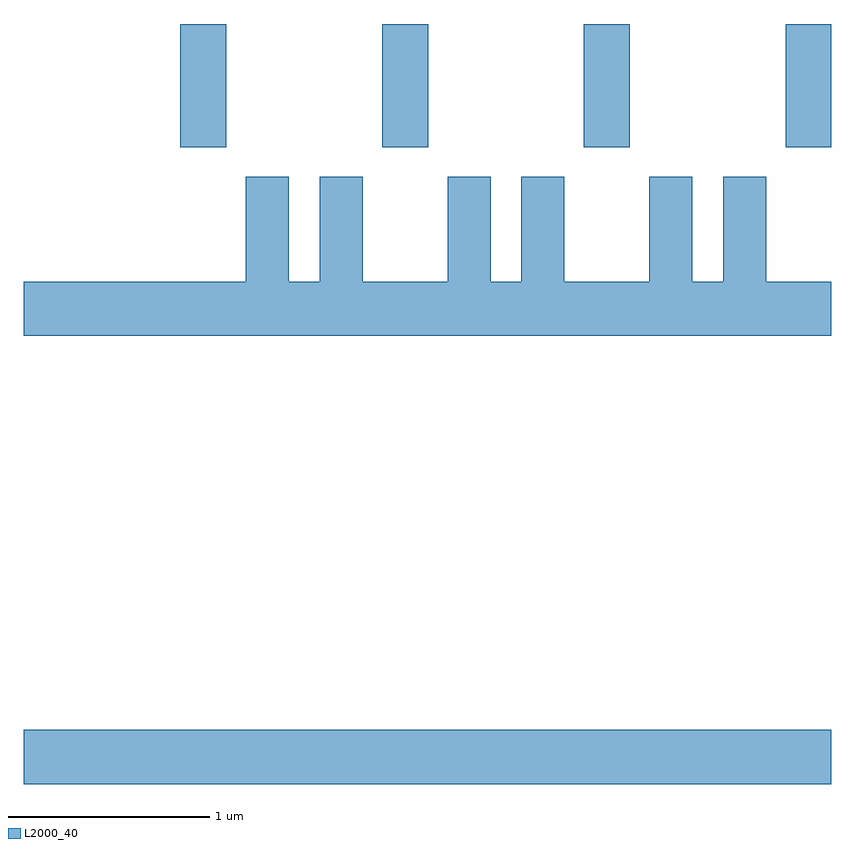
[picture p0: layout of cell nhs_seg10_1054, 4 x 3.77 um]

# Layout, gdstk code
import gdstk
lib = gdstk.Library(unit=1e-6, precision=1e-09)
def R(c, l, rs):  # rectangles x0, y0, x1, y1
    for r in rs: c.add(gdstk.rectangle(r[:2], r[2:], *l))
def A(c, l, x, y, w, h, nx, ny, dx, dy):  # array of equal rectangles
    R(c, l, [(x+i*dx, y+j*dy, x+i*dx+w, y+j*dy+h) for i in range(nx) for j in range(ny)])
def P(c, l, *ps):  # polygons
    for p in ps: c.add(gdstk.Polygon(p, *l))
L2000_40 = (2000, 40)

nhs_seg10_1054 = lib.new_cell('nhs_seg10_1054')
A(nhs_seg10_1054, L2000_40, 216.386, 2165.911, 0.228, 0.611, 3, 1, 1, 0)
R(nhs_seg10_1054, L2000_40, [(215.611,2162.756,219.611,2163.024), (219.386,2165.911,219.611,2166.522)])
P(nhs_seg10_1054, L2000_40, [(219.611,2165.244),(219.289,2165.244),(219.289,2165.764),(219.076,2165.764),(219.076,2165.244),(218.924,2165.244),(218.924,2165.764),(218.711,2165.764),(218.711,2165.244),(218.289,2165.244),(218.289,2165.764),(218.076,2165.764),(218.076,2165.244),(217.924,2165.244),(217.924,2165.764),(217.711,2165.764),(217.711,2165.244),(217.289,2165.244),(217.289,2165.764),(217.076,2165.764),(217.076,2165.244),(216.924,2165.244),(216.924,2165.764),(216.711,2165.764),(216.711,2165.244),(215.611,2165.244),(215.611,2164.976),(219.611,2164.976)])

lib.write_gds('nhs_seg10_1054.gds')
